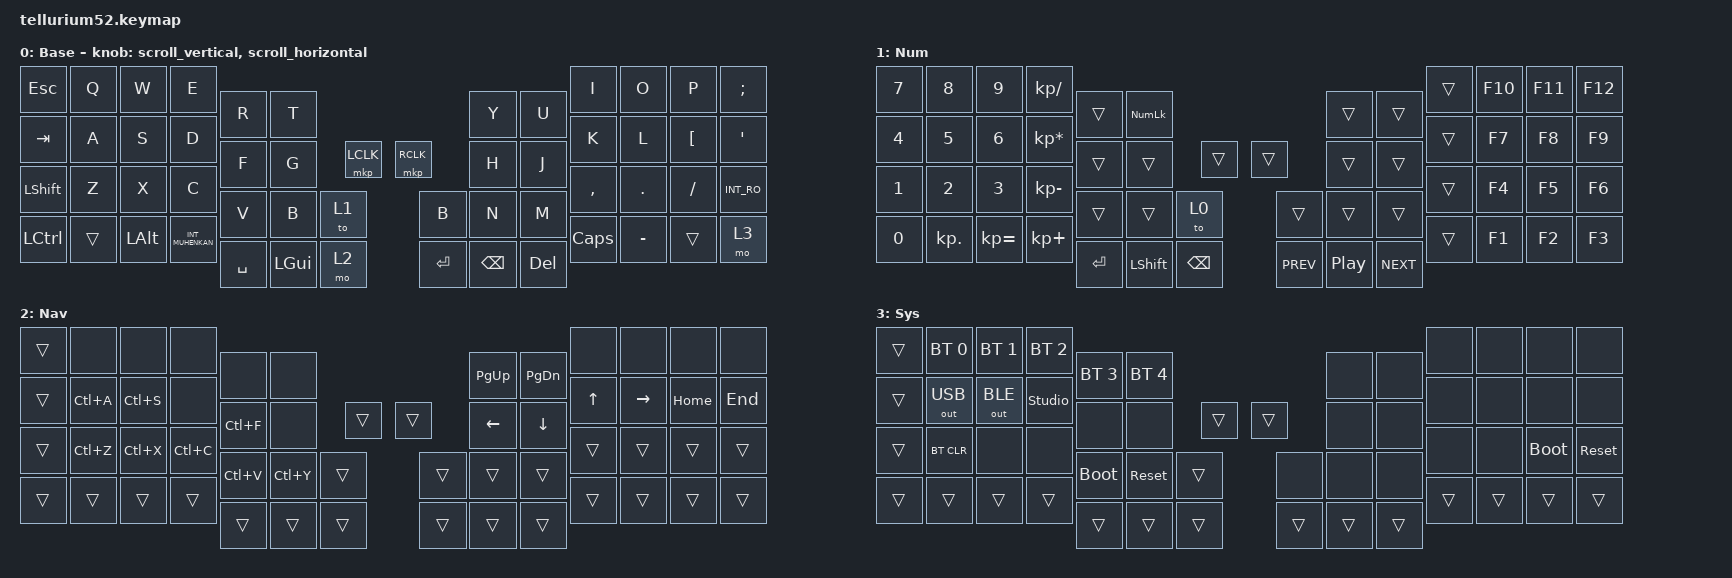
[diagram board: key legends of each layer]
#include <behaviors.dtsi>
#include <dt-bindings/zmk/keys.h>
#include <dt-bindings/zmk/bt.h>
#include <dt-bindings/zmk/outputs.h>
#include <dt-bindings/zmk/mouse.h>

// 【dyaブランチのみ】エンコーダをDYA Studioから設定できるようにする。
// cormoran/zmk-behavior-runtime-sensor-rotate が提供する。
// 安定版ブランチに戻す時はこの行と下のビヘイビア定義を元に戻すこと。
#include <behaviors/runtime-sensor-rotate.dtsi>

/*
 * ============================ 物理配置 ============================
 * 設計図(keyboard-layout.jpg)どおり。4段構成で、内側の列は半キー分下にずれる。
 *
 *  ESC  Q  W  E  R  T                          Y  U  I  O  P  ;
 *  Tab  A  S  D  F  G                          H  J  K  L  @  :
 *  Shft Z  X  C  V  B  -                  B    N  M  ,  .  /  \
 *  Ctrl Win Alt 無変換 Spc L1 L2      Ent BS Del  RSft 半/全 変換 L3
 *
 *                     [左エンコーダ] [右エンコーダ]
 *
 * 【重要】bindings の並び順は見た目の左右の並びとは違う。
 * tellurium52.dtsi の keys リストの順、つまり各段で
 *   左手 = 外側4キー(x=0〜300) → 内側(x=400〜600)
 *   右手 = 外側4キー(x=1100〜1400) → 内側(x=800〜1000)
 * の順に書く。右手は内側クラスタが後ろに来る点に注意。
 * 各行のコメントに見た目の並びを書いてあるので照合できる。
 *
 * ============================ JIS配列 ============================
 * OS側が日本語キーボード設定であることが前提(設計図に無変換・@・:があるため)。
 * JISは物理位置とHIDコードの対応がUSとずれるので以下を使う:
 *   @ → LBKT      : → SQT       \_(ろ) → INT_RO
 *   ^ → EQUAL     ¥ → INT_YEN   [ → RBKT      ] → BSLH
 *   半角/全角 → GRAVE    無変換 → INT_MUHENKAN    変換 → INT_HENKAN
 */

/*
 * ==================== エンコーダーでマウスホイールを回す ====================
 * 以前 &msc が効かなかった理由と、その対策。
 *
 * &msc は「押している間、trigger-period-ms(既定16ms)ごとに
 *   移動量 = 速度 × 16 ÷ 1000
 * を出す」方式で、離すと端数(remainder)も0に戻る。
 * 一方 zmk,behavior-sensor-rotate は内部で
 *   押す → tap-ms 待つ → 離す
 * をしており、その tap-ms の既定値が 5ms しかない。
 * 16ms周期に対して5msで離してしまうので、一度も発火せず0のままだった。
 *
 * 対策は2つ:
 *   (1) tap-ms を 25 にして、16ms の1回目だけを確実に発火させる
 *       (2回目は32msなので発火しない = 1ノッチちょうど1回)
 *   (2) 速度を 63 にして 63×16÷1000 = 1.008 ≒ ホイール1目盛/回 にする
 *       既定の SCRL_UP は速度10しかなく、1目盛出すのに約112ms必要だった。
 *
 * 調整方法:
 *   スクロール量を増やす → ENC_SCRL を 126(2目盛) 189(3目盛) などに
 *   全く動かない場合     → tap-ms を 40 に(発火2回=2目盛になる)
 */
#define ENC_SCRL  63
#define ENC_UP    MOVE_Y(ENC_SCRL)
#define ENC_DOWN  MOVE_Y(-ENC_SCRL)
#define ENC_LEFT  MOVE_X(-ENC_SCRL)
#define ENC_RIGHT MOVE_X(ENC_SCRL)

/ {
    behaviors {
        /*
         * 【dyaブランチのみ】標準の zmk,behavior-sensor-rotate ではなく
         * zmk,behavior-runtime-sensor-rotate を使う。DYA Studio から
         * 回転の割り当てをレイヤーごとに書き換えられるようになる。
         *
         * ここに書く cw-binding / ccw-binding は「既定値」であって、
         * Studio で設定するとそちらが優先される。つまり今のマウススクロール
         * の動作はそのまま維持され、気に入らなければ画面で変えられる。
         *
         * cw = 標準版の bindings の1個目、ccw = 2個目に相当。
         * 実機で方向が逆だったため入れ替えた結果をそのまま引き継いでいる。
         */

        // 左エンコーダー(sensors の0番): 縦スクロール。左回し=上 / 右回し=下。
        scroll_vertical: scroll_vertical {
            compatible = "zmk,behavior-runtime-sensor-rotate";
            #sensor-binding-cells = <0>;
            tap-ms = <25>;
            cw-binding = <&msc ENC_UP>;
            ccw-binding = <&msc ENC_DOWN>;
        };

        // 右エンコーダー(sensors の1番): 横スクロール。左回し=左 / 右回し=右。
        scroll_horizontal: scroll_horizontal {
            compatible = "zmk,behavior-runtime-sensor-rotate";
            #sensor-binding-cells = <0>;
            tap-ms = <25>;
            cw-binding = <&msc ENC_LEFT>;
            ccw-binding = <&msc ENC_RIGHT>;
        };
    };

    keymap {
        compatible = "zmk,keymap";

        /* =================================================================
         * レイヤー0: 基本
         * DYA Studio 上で利用者が調整した内容をそのまま反映してある。
         *   ・L1 は MO(押している間)ではなく TO(切り替え)。左内側の V B の右。
         *     戻るときは L1 側の同じ位置にある TO 0 を押す。
         *   ・L2 は左親指の一番外側で MO(押している間だけ)。
         *   ・Win は左下段からその左親指の隣へ移動。
         *   ・右下段は Caps と - を配置。半角/全角と変換は置いていない。
         * ================================================================= */
        base_layer {
            display-name = "Base";

            /* 1個目=左手エンコーダー、2個目=右手エンコーダー */
            sensor-bindings = <&scroll_vertical &scroll_horizontal>;

            bindings = <
    /* 左1段  Esc Q W E | R T      */  &kp ESC    &kp Q      &kp W      &kp E             &kp R       &kp T
    /* 左2段  Tab A S D | F G      */  &kp TAB    &kp A      &kp S      &kp D             &kp F       &kp G
    /* 左3段  Sft Z X C | V B TO1  */  &kp LSHFT  &kp Z      &kp X      &kp C             &kp V       &kp B      &to 1
    /* 左4段  Ctl -- Alt 無変換 | Spc Win L2 */
                                       &kp LCTRL  &trans     &kp LALT   &kp INT_MUHENKAN  &kp SPACE   &kp LGUI   &mo 2

    /* 右1段  外:I O P ;  内:Y U   */  &kp I      &kp O      &kp P      &kp SEMI    &kp Y      &kp U
    /* 右2段  外:K L @ :  内:H J   */  &kp K      &kp L      &kp LBKT   &kp SQT     &kp H      &kp J
    /* 右3段  外:, . / \  内:B N M */  &kp COMMA  &kp DOT    &kp FSLH   &kp INT_RO  &kp B      &kp N      &kp M
    /* 右4段  外:Caps - -- L3   内:Ent BS Del */
                                       &kp CAPS   &kp MINUS  &trans     &mo 3       &kp RET    &kp BSPC   &kp DEL

    /* エンコーダー押し込み: 左=左クリック 右=右クリック */
                                       &mkp LCLK  &mkp RCLK
            >;
        };

        /* =================================================================
         * レイヤー1: テンキー・ファンクション (基本層の TO 1 で切り替え)
         * 押しっぱなしではなく切り替え式なので、戻るときは同じ位置の TO 0。
         * 左手がテンキーそのままの並び、右手がF1〜F12(下から上へ)。
         * 右手内側の最下段はメディア操作(前の曲 / 再生停止 / 次の曲)。
         * ================================================================= */
        num_layer {
            display-name = "Num";
            bindings = <
    /* 左1段  7 8 9 / | -- Num   */  &kp N7     &kp N8     &kp N9     &kp KP_DIVIDE    &trans     &kp KP_NUM
    /* 左2段  4 5 6 * | -- --    */  &kp N4     &kp N5     &kp N6     &kp KP_MULTIPLY  &trans     &trans
    /* 左3段  1 2 3 - | -- -- TO0 */  &kp N1     &kp N2     &kp N3     &kp KP_MINUS     &trans     &trans     &to 0
    /* 左4段  0 . = + | Ent Sft BS */
                                      &kp N0     &kp KP_DOT &kp KP_EQUAL &kp KP_PLUS    &kp RET    &kp LSHFT  &kp BSPC

    /* 右1段  外:-- F10 F11 F12  内:-- -- */  &trans   &kp F10  &kp F11  &kp F12  &trans   &trans
    /* 右2段  外:-- F7 F8 F9     内:-- -- */  &trans   &kp F7   &kp F8   &kp F9   &trans   &trans
    /* 右3段  外:-- F4 F5 F6     内:-- -- -- */
                                              &trans   &kp F4   &kp F5   &kp F6   &trans   &trans   &trans
    /* 右4段  外:-- F1 F2 F3     内:前 再生 次 */
                                              &trans   &kp F1   &kp F2   &kp F3   &kp C_PREV &kp C_PP &kp C_NEXT

                                              &trans   &trans
            >;
        };

        /* =================================================================
         * レイヤー2: 矢印・編集 (左親指 L2 を押しながら)
         * 矢印は H J K L の位置に ← ↓ ↑ → (vim風)。
         * 左手には Ctrl+Z/X/C/V などを同じ文字の位置に置いてある。
         * ================================================================= */
        nav_layer {
            display-name = "Nav";
            bindings = <
    /* 左1段  -- -- -- -- | -- -- */  &trans     &none      &none      &none      &none      &none
    /* 左2段  -- 全選択 保存 -- | 検索 -- */
                                      &trans     &kp LC(A)  &kp LC(S)  &none      &kp LC(F)  &none
    /* 左3段  -- 戻す 切取 コピー | 貼付 やり直し -- */
                                      &trans     &kp LC(Z)  &kp LC(X)  &kp LC(C)  &kp LC(V)  &kp LC(Y)  &trans
    /* 左4段  基本段のまま        */  &trans     &trans     &trans     &trans     &trans     &trans     &trans

    /* 右1段  外:-- -- -- --      内:PgUp PgDn */
                                      &none      &none      &none      &none      &kp PG_UP  &kp PG_DN
    /* 右2段  外:↑ → Home End   内:← ↓    */
                                      &kp UP     &kp RIGHT  &kp HOME   &kp END    &kp LEFT   &kp DOWN
    /* 右3段  基本段のまま        */  &trans     &trans     &trans     &trans     &trans     &trans     &trans
    /* 右4段  基本段のまま        */  &trans     &trans     &trans     &trans     &trans     &trans     &trans

                                      &trans     &trans
            >;
        };

        /* =================================================================
         * レイヤー3: システム (右端の L3 を押しながら)
         * Bluetoothの切替、出力先の切替、書き込みモードへの移行。
         * BT_CLR は「今選んでいるプロファイル」のペアリングだけを消す。
         * 全消しの BT_CLR_ALL は誤爆が怖いので置いていない。
         * &bootloader と &sys_reset は押した側の半身に効く。
         *
         * 【L3 + D = Studioのロック解除】
         * ZMK Studio は既定でロックされており(ZMK_STUDIO_RPC が
         * imply ZMK_STUDIO_LOCKING しているため)、解除しないと編集が
         * 拒否される。切断するたび再ロックされるので、Studioで編集する
         * 前に毎回この組み合わせを押す。
         * ================================================================= */
        sys_layer {
            display-name = "Sys";
            bindings = <
    /* 左1段  -- BT0 BT1 BT2 | BT3 BT4 */
                                      &trans   &bt BT_SEL 0  &bt BT_SEL 1  &bt BT_SEL 2  &bt BT_SEL 3  &bt BT_SEL 4
    /* 左2段  -- USB BLE Studio解除 | -- -- */
                                      &trans   &out OUT_USB  &out OUT_BLE  &studio_unlock  &none       &none
    /* 左3段  -- ペア消去 -- -- | 書込 再起動 -- */
                                      &trans   &bt BT_CLR    &none         &none         &bootloader   &sys_reset  &trans
    /* 左4段  基本段のまま      */    &trans   &trans        &trans        &trans        &trans        &trans      &trans

    /* 右1段  すべて無効        */    &none    &none    &none        &none        &none    &none
    /* 右2段  すべて無効        */    &none    &none    &none        &none        &none    &none
    /* 右3段  外:-- -- 書込 再起動   内:-- -- -- */
                                      &none    &none    &bootloader  &sys_reset   &none    &none    &none
    /* 右4段  基本段のまま      */    &trans   &trans   &trans       &trans       &trans   &trans   &trans

                                      &trans   &trans
            >;
        };
    };
};
